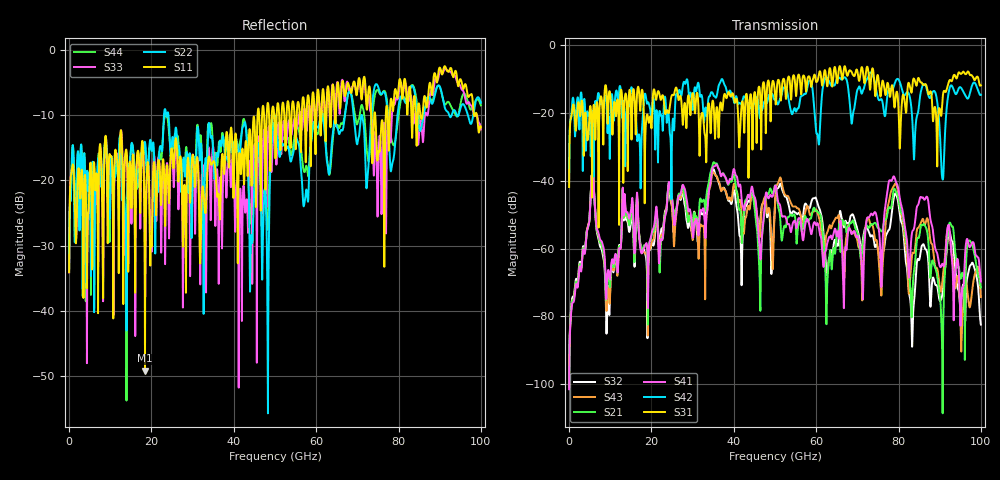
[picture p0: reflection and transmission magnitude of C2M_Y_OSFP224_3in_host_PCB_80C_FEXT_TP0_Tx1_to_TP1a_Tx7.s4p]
# GHz S RI R 45
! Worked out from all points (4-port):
!   4000 points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, 25 MHz to 100 GHz, reference 45 ohm
!   strongest paths, dB at 25 MHz, 25.02 GHz, 50.02 GHz, 75.03 GHz, 100 GHz:
!     S31: -41.8, -14.6, -14.8, -8.9, -11.8
!     S42: -40.5, -26.4, -15.9, -15.6, -14.6
!     S41: -101.5, -45.2, -41.6, -52.9, -69.8
!     S21: -100.8, -45.2, -41.4, -53.9, -71.5
!     S43: -100.8, -48.0, -46.7, -60.7, -74.3
!     S32: -100.0, -48.0, -46.4, -60.4, -82.4
!   lowest |S11| = -49.2 dB at 18.45 GHz (marker M1), VSWR 1.01, Z = 45.3 + j0.147 ohm
!   |S11| at or under -10 dB: start of sweep to 45.78 GHz; 74.36 GHz to 76.91 GHz (2.55 GHz wide, 3.37 % of centre); 99.03 GHz to end of sweep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
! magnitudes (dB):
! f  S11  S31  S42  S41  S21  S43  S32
! 25 MHz  -34.1  -41.8  -40.5  -101.5  -100.8  -100.8  -100.0
! 5.675 GHz  -30.4  -27.5  -19.4  -44.3  -44.3  -44.3  -44.3
! 9.4 GHz  -29.6  -23.1  -25.4  -66.8  -68.0  -71.5  -74.5
! 18.45 GHz  -49.2  -31.9  -14.3  -59.2  -58.9  -61.3  -61.3
! 79.3 GHz  -6.0  -15.4  -10.5  -40.1  -43.0  -40.8  -43.8
! 83.25 GHz  -12.9  -13.4  -20.2  -55.6  -79.5  -62.2  -87.0
! 100 GHz  -11.9  -11.8  -14.6  -69.8  -71.5  -74.3  -82.4
